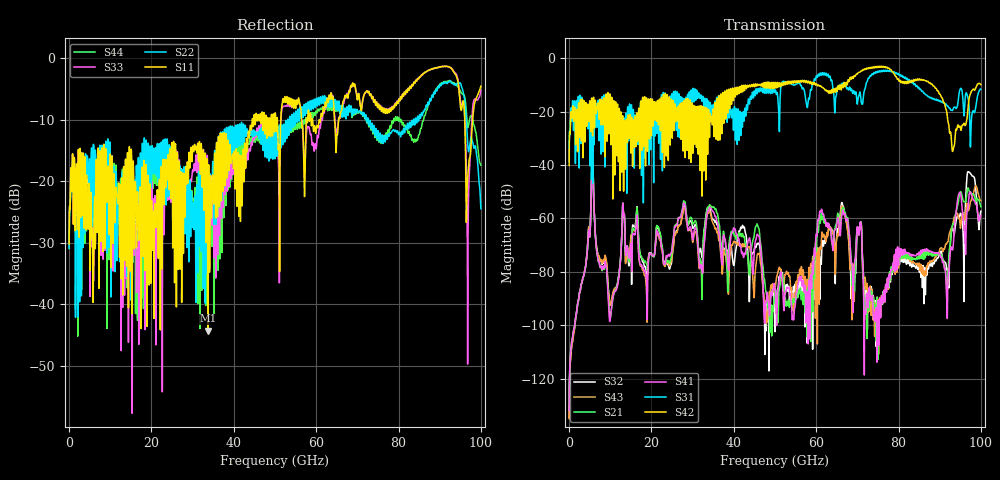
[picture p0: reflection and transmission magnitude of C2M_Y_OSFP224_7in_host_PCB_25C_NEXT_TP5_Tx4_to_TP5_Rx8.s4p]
# GHz S RI R 45
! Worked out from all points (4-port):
!   4000 points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, 25 MHz to 100 GHz, reference 45 ohm
!   strongest paths, dB at 25 MHz, 25.02 GHz, 50.02 GHz, 75.03 GHz, 100 GHz:
!     S42: -40.2, -25.7, -10.9, -3.5, -9.9
!     S31: -38.6, -13.7, -12.1, -4.9, -11.6
!     S41: -131.9, -70.9, -86.5, -90.9, -58.9
!     S21: -131.8, -71.6, -87.1, -99.4, -55.6
!     S43: -135.0, -74.1, -86.5, -91.3, -53.4
!     S32: -134.5, -74.4, -101.7, -104.3, -57.3
!   lowest |S11| = -44.3 dB at 33.7 GHz (marker M1), VSWR 1.01, Z = 45.3 - j0.454 ohm
!   |S11| at or under -10 dB: start of sweep to 44.49 GHz; 59.15 GHz to 60.73 GHz (1.575 GHz wide, 2.63 % of centre); 96.08 GHz to 98 GHz (1.927 GHz wide, 1.99 % of centre) (the widest 3 of 23)
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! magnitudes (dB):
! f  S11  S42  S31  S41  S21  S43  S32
! 25 MHz  -30.2  -40.2  -38.6  -131.9  -131.8  -135.0  -134.5
! 5.725 GHz  -32.1  -29.1  -38.1  -40.3  -40.3  -40.2  -40.2
! 9.675 GHz  -20.8  -28.4  -20.9  -93.7  -92.2  -88.9  -88.2
! 33.7 GHz  -44.3  -29.0  -21.4  -57.2  -55.8  -57.9  -56.0
! 86.3 GHz  -2.4  -8.3  -13.1  -72.1  -71.7  -81.8  -79.1
! 93.25 GHz  -2.1  -34.3  -18.9  -70.8  -62.0  -61.8  -64.2
! 100 GHz  -4.6  -9.9  -11.6  -58.9  -55.6  -53.4  -57.3
